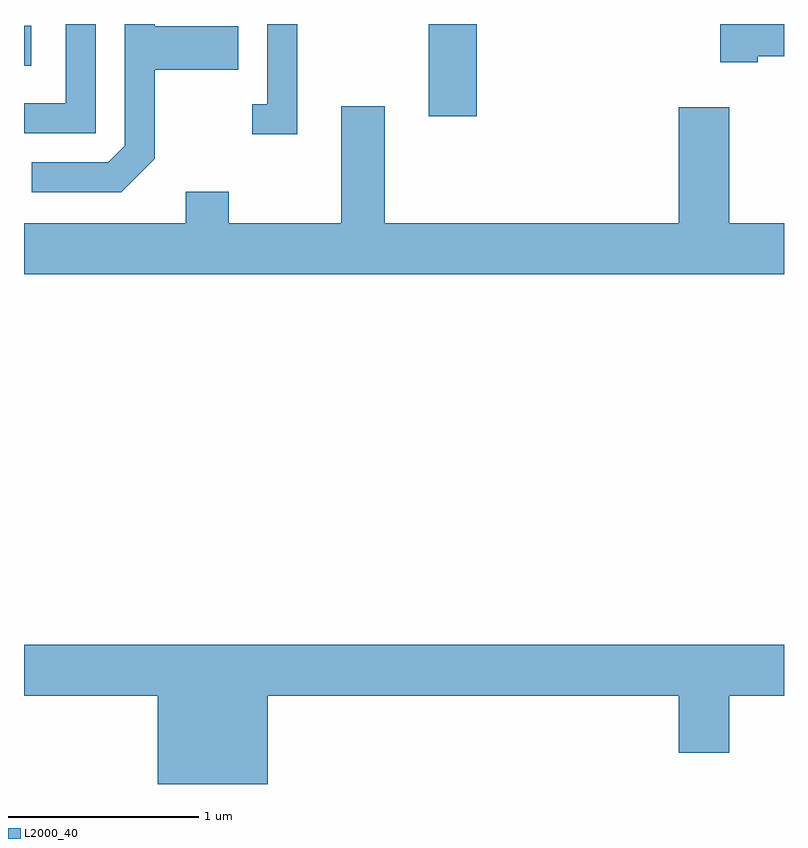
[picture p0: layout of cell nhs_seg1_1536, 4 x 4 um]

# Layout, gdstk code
import gdstk
lib = gdstk.Library(unit=1e-6, precision=1e-09)
def R(c, l, rs):  # rectangles x0, y0, x1, y1
    for r in rs: c.add(gdstk.rectangle(r[:2], r[2:], *l))
def P(c, l, *ps):  # polygons
    for p in ps: c.add(gdstk.Polygon(p, *l))
L2000_40 = (2000, 40)

nhs_seg1_1536 = lib.new_cell('nhs_seg1_1536')
R(nhs_seg1_1536, L2000_40, [(233.741,969.226,233.994,969.712), (231.611,969.491,231.649,969.704)])
P(nhs_seg1_1536, L2000_40, [(233.049,969.712),(232.891,969.712),(232.891,969.289),(232.813,969.289),(232.813,969.131),(233.049,969.131)],
  [(231.989,969.712),(231.831,969.712),(231.831,969.294),(231.611,969.294),(231.611,969.136),(231.989,969.136)],
  [(232.299,969.004),(232.299,969.471),(232.739,969.471),(232.739,969.699),(232.299,969.699),(232.299,969.712),(232.141,969.712),(232.141,969.072),(232.054,968.984),(231.653,968.984),(231.653,968.826),(232.122,968.826)],
  [(235.474,969.541),(235.611,969.541),(235.611,969.712),(235.276,969.712),(235.276,969.511),(235.474,969.511)],
  [(235.611,968.664),(235.324,968.664),(235.324,969.274),(235.056,969.274),(235.056,968.664),(233.509,968.664),(233.509,969.279),(233.281,969.279),(233.281,968.664),(232.689,968.664),(232.689,968.829),(232.461,968.829),(232.461,968.664),(231.611,968.664),(231.611,968.396),(235.611,968.396)],
  [(232.894,966.176),(235.056,966.176),(235.056,965.876),(235.324,965.876),(235.324,966.176),(235.611,966.176),(235.611,966.444),(231.611,966.444),(231.611,966.176),(232.316,966.176),(232.316,965.712),(232.894,965.712)])

lib.write_gds('nhs_seg1_1536.gds')
